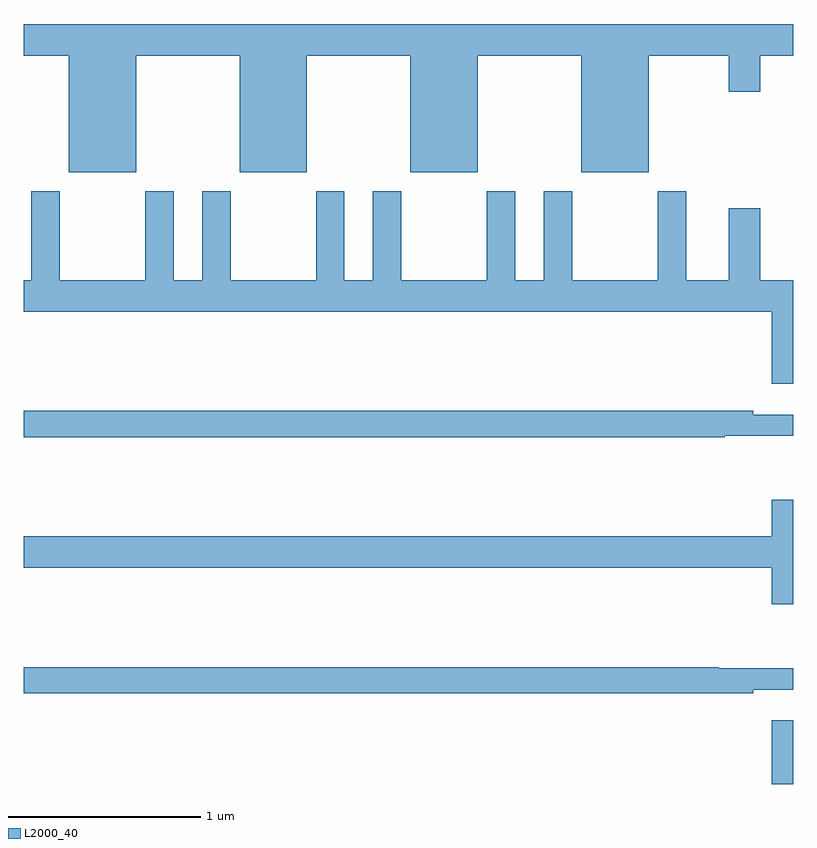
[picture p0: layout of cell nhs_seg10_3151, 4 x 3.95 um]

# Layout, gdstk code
import gdstk
lib = gdstk.Library(unit=1e-6, precision=1e-09)
def R(c, l, rs):  # rectangles x0, y0, x1, y1
    for r in rs: c.add(gdstk.rectangle(r[:2], r[2:], *l))
def P(c, l, *ps):  # polygons
    for p in ps: c.add(gdstk.Polygon(p, *l))
L2000_40 = (2000, 40)

nhs_seg10_3151 = lib.new_cell('nhs_seg10_3151')
R(nhs_seg10_3151, L2000_40, [(284.888,1324.5,285,1324.831)])
P(nhs_seg10_3151, L2000_40, [(281.584,1328.288),(282.122,1328.288),(282.122,1327.682),(282.472,1327.682),(282.472,1328.288),(283.01,1328.288),(283.01,1327.682),(283.36,1327.682),(283.36,1328.288),(283.898,1328.288),(283.898,1327.682),(284.248,1327.682),(284.248,1328.288),(284.666,1328.288),(284.666,1328.1),(284.83,1328.1),(284.83,1328.288),(285,1328.288),(285,1328.452),(281,1328.452),(281,1328.288),(281.234,1328.288),(281.234,1327.682),(281.584,1327.682)],
  [(285,1327.12),(284.83,1327.12),(284.83,1327.495),(284.666,1327.495),(284.666,1327.12),(284.443,1327.12),(284.443,1327.582),(284.296,1327.582),(284.296,1327.12),(283.851,1327.12),(283.851,1327.582),(283.703,1327.582),(283.703,1327.12),(283.555,1327.12),(283.555,1327.582),(283.408,1327.582),(283.408,1327.12),(282.963,1327.12),(282.963,1327.582),(282.815,1327.582),(282.815,1327.12),(282.667,1327.12),(282.667,1327.582),(282.52,1327.582),(282.52,1327.12),(282.075,1327.12),(282.075,1327.582),(281.927,1327.582),(281.927,1327.12),(281.779,1327.12),(281.779,1327.582),(281.632,1327.582),(281.632,1327.12),(281.187,1327.12),(281.187,1327.582),(281.039,1327.582),(281.039,1327.12),(281,1327.12),(281,1326.956),(284.888,1326.956),(284.888,1326.582),(285,1326.582)],
  [(284.645,1326.312),(285,1326.312),(285,1326.421),(284.792,1326.421),(284.792,1326.44),(281,1326.44),(281,1326.304),(284.645,1326.304)],
  [(285,1325.977),(284.888,1325.977),(284.888,1325.788),(281,1325.788),(281,1325.624),(284.888,1325.624),(284.888,1325.436),(285,1325.436)],
  [(284.792,1324.991),(285,1324.991),(285,1325.101),(284.614,1325.101),(284.614,1325.108),(281,1325.108),(281,1324.972),(284.792,1324.972)])

lib.write_gds('nhs_seg10_3151.gds')
